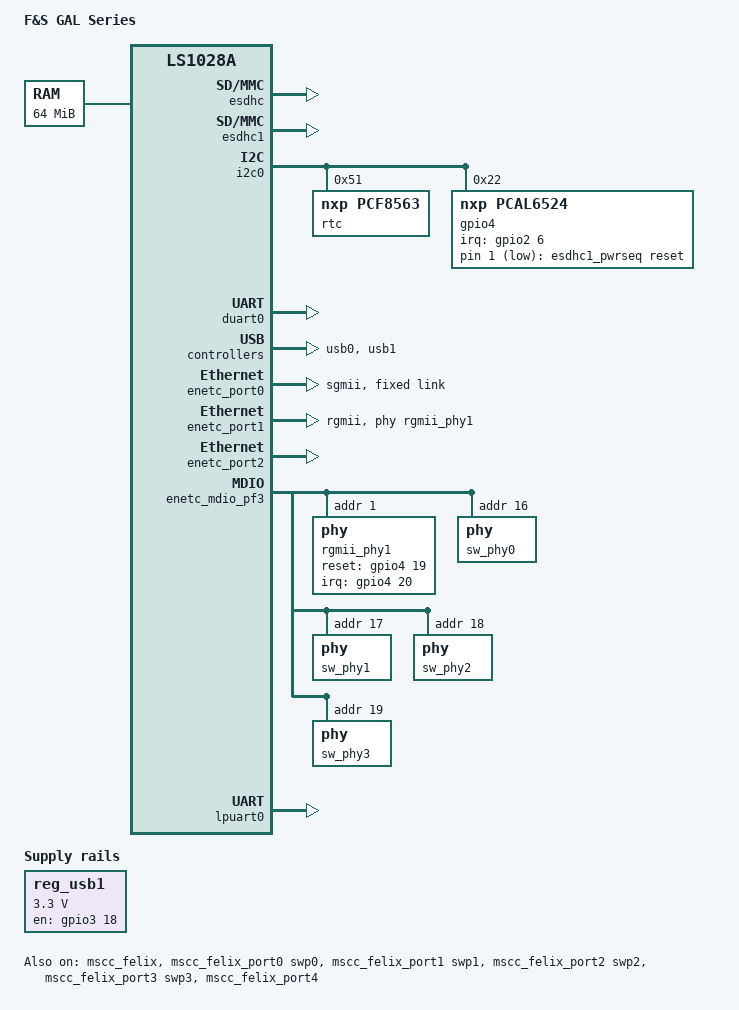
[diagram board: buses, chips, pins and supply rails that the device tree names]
// SPDX-License-Identifier: GPL-2.0+ OR X11
/*
 * F&S Elektronik Systeme GmbH device tree source
 *
 * Copyright 2022 F&S Elektronik Systeme GmbH
 *
 */

/dts-v1/;

#include "fsl-ls1028a.dtsi"
#include <dt-bindings/gpio/gpio.h>

/ {
    model = "F&S GAL Series";
	compatible = "fus,gal1", "fsl,ls1028a";
	aliases {
		crypto = &crypto;
		serial0 = &duart0;
		serial1 = &duart1;
		mmc0 = &esdhc;
		mmc1 = &esdhc1;
		rtc1 = &ftm_alarm0;
		spi0 = &fspi;
		eth0 = &enetc_port0;
		eth1 = &enetc_port1;
		eth2 = &enetc_port2;
		eth3 = &mscc_felix_port0;
		eth4 = &mscc_felix_port1;
		eth5 = &mscc_felix_port2;
		eth6 = &mscc_felix_port3;
		eth7 = &enetc_port3;
	};

	chosen {
		stdout-path = "serial0:115200n8";
	};

	memory@80000000 {
		device_type = "memory";
		reg = <0x0 0x80000000 0x0 0x4000000>;
	};

	regulator {
		reg_usb1: usb1_pwr {
			compatible = "regulator-fixed";
			regulator-name = "USB1_PWR";
			regulator-min-microvolt = <3300000>;
			regulator-max-microvolt = <3300000>;
			gpio = <&gpio3 18 GPIO_ACTIVE_HIGH>;
			enable-active-high;
			regulator-always-on;
		};
	};

	esdhc1_pwrseq: emmc_pwrseq {
		compatible = "mmc-pwrseq-emmc";
		reset-gpios = <&gpio4 1 (GPIO_ACTIVE_LOW|GPIO_OPEN_DRAIN)>;
	};
};


&esdhc {
	is-sdcard;
	status = "okay";
};

&esdhc1 {
	is-emmc;
	status = "okay";
	mmc-hs200-1_8v;
	mmc-pwrseq = <&esdhc1_pwrseq>;
};

&i2c0 {
	status = "okay";
	
	rtc@51 {
		compatible = "nxp,pcf8563";
		reg = <0x51>;
	};

	gpio4: pca6524@22 {
		/* extern GPIO controller */
		compatible = "nxp,pcal6524";
		reg  = <0x22>;
		interrupt-parent = <&gpio2>;
		interrupts = <6 IRQ_TYPE_EDGE_FALLING>;
		gpio-controller;
		#gpio-cells = <2>;
		interrupt-controller;
		#interrupt-cells = <2>;
	};
};

&duart0 {
	/* serial0 -> UART1 */
	status = "okay";
};

&usb0 {
	/* intern USB */
	status = "okay";
};

&usb1 {
	/* M.2 */
	status = "okay";
};

&enetc_port0 {
	/* SFP Connector */
	status = "okay";
	phy-mode = "sgmii";
	fixed-link {
		speed = <1000>;
		full-duplex;
	};
};

&enetc_port1 {
	/* internal Ethernet */
	status = "okay";
	phy-mode = "rgmii";
	phy-handle = <&rgmii_phy1>;
};

&enetc_port2 {
	/* TSN-Switch swp4 */
	status = "okay";
};

&enetc_port3 {
	/* TSN-Switch swp5 */
	status="disabled";
};

/* TSN-Switch */
mscc_felix_ports: &mscc_felix {
	status = "okay";
};

&mscc_felix_port0 {
	label = "swp0";
	phy-handle = <&sw_phy0>;
	phy-mode = "qsgmii";
	status = "okay";
};

&mscc_felix_port1 {
	label = "swp1";
	phy-handle = <&sw_phy1>;
	phy-mode = "qsgmii";
	status = "okay";
};

&mscc_felix_port2 {
	label = "swp2";
	phy-handle = <&sw_phy2>;
	phy-mode = "qsgmii";
	status = "okay";
};

&mscc_felix_port3 {
	label = "swp3";
	phy-handle = <&sw_phy3>;
	phy-mode = "qsgmii";
	status = "okay";
};

&mscc_felix_port4 {
	ethernet = <&enetc_port2>;
	status = "okay";
};

&mscc_felix_port5 {
	ethernet = <&enetc_port3>;
	/* Enable it to use Control Port for TSN-Switch */
	status = "disable";
};

&enetc_mdio_pf3 {
	status = "okay";

	rgmii_phy1: phy@1 {
		reg = <1>;
		interrupt-parent = <&gpio4>;
		interrupts = <20 IRQ_TYPE_EDGE_RISING>;
		reset-gpios = <&gpio4 19 GPIO_ACTIVE_HIGH>;
	};

	/* VSC8514 QSGMII PHY */
	sw_phy0: phy@10 {
		reg = <0x10>;
	};

	sw_phy1: phy@11 {
		reg = <0x11>;
	};

	sw_phy2: phy@12 {
		reg = <0x12>;
	};

	sw_phy3: phy@13 {
		reg = <0x13>;
	};
};

&lpuart0 {
	status = "okay";
};
